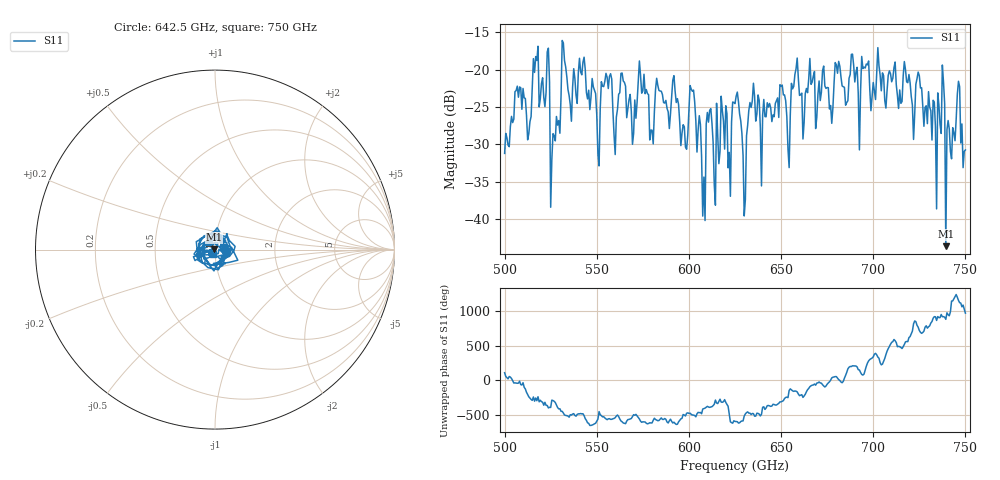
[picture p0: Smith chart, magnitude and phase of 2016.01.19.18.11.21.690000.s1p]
!Created with skrf (http://scikit-rf.org).
# GHz S RI R 50.0
!freq ReS11 ImS11
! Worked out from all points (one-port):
!   401 points, 500 GHz to 750 GHz, reference 50 ohm
!   lowest |S11| = -43.6 dB at 739.4 GHz (marker M1), VSWR 1.01, Z = 49.4 + j0.229 ohm
!   |S11| at or under -10 dB: start of sweep to end of sweep
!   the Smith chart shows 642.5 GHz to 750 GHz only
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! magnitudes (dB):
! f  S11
! 500 GHz  -31.2
! 506.9 GHz  -22.2
! 513.1 GHz  -28.6
! 516.9 GHz  -18.3
! 523.1 GHz  -17.6
! 526.2 GHz  -28.6
! 531.2 GHz  -16.1
! 541.9 GHz  -20.7
! 550.6 GHz  -31.2
! 553.8 GHz  -22.3
! 562.5 GHz  -23.1
! 593.8 GHz  -23.9
! 598.1 GHz  -30.3
! 601.9 GHz  -22.9
! 607.5 GHz  -39.6
! 610.6 GHz  -27.0
! 615 GHz  -24.5
! 625 GHz  -24.5
! 630 GHz  -39.5
! 634.4 GHz  -24.2
! 650.6 GHz  -22.1
! 653.8 GHz  -30.6
! 656.2 GHz  -22.6
! 687.5 GHz  -20.7
! 718.8 GHz  -21.7
! 739.4 GHz  -43.6
! 746.9 GHz  -22.3
! 750 GHz  -30.7
